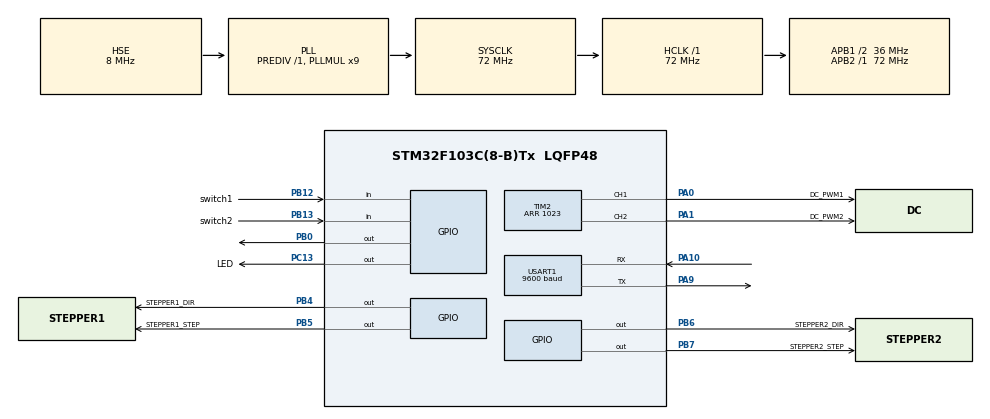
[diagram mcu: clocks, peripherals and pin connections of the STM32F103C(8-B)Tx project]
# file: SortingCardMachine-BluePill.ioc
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FREERTOS.Tasks01=defaultTask,0,128,StartDefaultTask,Default,NULL,Dynamic,NULL,NULL
Mcu.Family=STM32F1
Mcu.Name=STM32F103C(8-B)Tx
Mcu.Package=LQFP48
NVIC.PriorityGroup=NVIC_PRIORITYGROUP_4
NVIC.TIM4_IRQn=true\:15\:0\:false\:false\:true\:false\:false\:true\:true
NVIC.TimeBase=TIM4_IRQn
NVIC.TimeBaseIP=TIM4
NVIC.USART1_IRQn=true\:5\:0\:false\:false\:true\:true\:true\:true\:true
PA0-WKUP.GPIO_Label=DC_PWM1
PA0-WKUP.Signal=S_TIM2_CH1_ETR
PA1.GPIO_Label=DC_PWM2
PA1.Signal=S_TIM2_CH2
PA10.Mode=Asynchronous
PA10.Signal=USART1_RX
PA9.Mode=Asynchronous
PA9.Signal=USART1_TX
PB0.Signal=GPIO_Output
PB12.GPIO_Label=switch1
PB12.Signal=GPIO_Input
PB13.GPIO_Label=switch2
PB13.Signal=GPIO_Input
PB4.GPIO_Label=STEPPER1_DIR
PB4.Signal=GPIO_Output
PB5.GPIO_Label=STEPPER1_STEP
PB5.Signal=GPIO_Output
PB6.GPIO_Label=STEPPER2_DIR
PB6.Signal=GPIO_Output
PB7.GPIO_Label=STEPPER2_STEP
PB7.Signal=GPIO_Output
PC13-TAMPER-RTC.GPIO_Label=LED
PC13-TAMPER-RTC.Signal=GPIO_Output
PD0-OSC_IN.Mode=HSE-External-Oscillator
PD0-OSC_IN.Signal=RCC_OSC_IN
PD1-OSC_OUT.Mode=HSE-External-Oscillator
PD1-OSC_OUT.Signal=RCC_OSC_OUT
ProjectManager.HeapSize=0x200
ProjectManager.StackSize=0x400
ProjectManager.TargetToolchain=STM32CubeIDE
RCC.AHBFreq_Value=72000000
RCC.APB1CLKDivider=RCC_HCLK_DIV2
RCC.APB1Freq_Value=36000000
RCC.APB1TimFreq_Value=72000000
RCC.APB2Freq_Value=72000000
RCC.APB2TimFreq_Value=72000000
RCC.HCLKFreq_Value=72000000
RCC.PLLMUL=RCC_PLL_MUL9
RCC.PLLSourceVirtual=RCC_PLLSOURCE_HSE
RCC.SYSCLKFreq_VALUE=72000000
RCC.SYSCLKSource=RCC_SYSCLKSOURCE_PLLCLK
RCC.USBFreq_Value=72000000
SH.S_TIM2_CH1_ETR.0=TIM2_CH1,PWM Generation1 CH1
SH.S_TIM2_CH2.0=TIM2_CH2,PWM Generation2 CH2
TIM2.Channel-PWM\ Generation1\ CH1=TIM_CHANNEL_1
TIM2.Channel-PWM\ Generation2\ CH2=TIM_CHANNEL_2
TIM2.Period=1023
TIM2.Pulse-PWM\ Generation1\ CH1=512
USART1.BaudRate=9600
USART1.VirtualMode=VM_ASYNC
VP_FREERTOS_VS_CMSIS_V1.Mode=CMSIS_V1
VP_SYS_VS_ND.Mode=No_Debug
VP_SYS_VS_tim4.Mode=TIM4
VP_TIM2_VS_ClockSourceINT.Mode=Internal
board=custom

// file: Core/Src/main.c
/* USER CODE BEGIN Header */
/**
  ******************************************************************************
  * @file           : main.c
  * @brief          : Main program body
  ******************************************************************************
  * @attention
  *
  * Copyright (c) 2024 STMicroelectronics.
  * All rights reserved.
  *
  * This software is licensed under terms that can be found in the LICENSE file
  * in the root directory of this software component.
  * If no LICENSE file comes with this software, it is provided AS-IS.
  *
  ******************************************************************************
  */

/* USER CODE END Header */
#include "main.h"
#include "FreeRTOS.h"
#include "task.h"
#include "timers.h"
#include "queue.h"
#include "semphr.h"
#include "event_groups.h"

/* USER CODE BEGIN PTD */
typedef struct __mOrder
{
  uint8_t tray; // the number of tray to go/ options: 0, 1, 2, 3;
  uint8_t flag_moreCards; // 1 true - more cards to sort. go back; 0 false no more cards. continoue;
  uint8_t flag_notEnd; // 1 true - go back for more rounds; 0 false ended. continue;
  uint8_t flag_start; // 1 true - start; 0 false don't start;
  uint8_t Error;
}mOrder;

/* USER CODE END PTD */

/* USER CODE BEGIN PD */
#define RX_BUFFER_SIZE 2

/***** STEPPER defines #######################################################*/
#define STEPS_PER_REVOLUTION 200 // Need to define
#define STEP_DELAY_MS 10 // Need to define
#define MOTOR_TASK_PRIORITY osPriorityNormal
#define MOTOR_TASK_STACK_SIZE 128
#define FORWARS 1
#define BACKWARDS 0
#define MAX_STEPS 1000 // Need to define
/***** Tray Positions defines ################################################*/
#define FIRST_LEVEL_POS 1 // Lowest level of Sorting Tray  //UPDATE!!
#define SECOND_LEVEL_POS 2 // Lowest level of Sorting Tray  //UPDATE!!
#define THIRD_LEVEL_POS 3 // Lowest level of Sorting Tray  //UPDATE!!
#define FOURTH_LEVEL_POS 4 // Lowest level of Sorting Tray  //UPDATE!!

/* USER CODE END PD */

TIM_HandleTypeDef htim2;

UART_HandleTypeDef huart1;
UART_HandleTypeDef huart2;

/* USER CODE BEGIN PV */
TaskHandle_t xHandleMainTask;
QueueHandle_t xQueueUART;
uint8_t rxBuffer[RX_BUFFER_SIZE];
uint8_t pvBuffer[RX_BUFFER_SIZE];
int16_t trayPosition = 0;
mOrder theMessege;
BaseType_t xReturned;
uint8_t taskSuspendFlag = 1; // 1 true - task running; 0 false task suspended;

/* USER CODE END PV */

void SystemClock_Config(void);
static void MX_GPIO_Init(void);
static void MX_TIM2_Init(void);
static void MX_USART1_UART_Init(void);
void StartDefaultTask(void *argument);

/* USER CODE BEGIN PFP */
// !Need to write messegeInterpret function
mOrder getMessegeInterpret(uint8_t* buffer); // The function can return Struct of the information when we decife the struct
BaseType_t getMessege();
void callibration(); // The Callibration of the Sorting Tray, Change the position to Zero at the end
void retrivigCards(); // The functuin  retriving the cards from the Sorting Tray back to the Feeding Tray
void StepperMove (int stepsToDir);
int calculateStepsToLevel(int level_to_go); // calculate the steps to the next level
void pullingHandlePush(); // Pushing the cards back to the Feeding Tray
void cardPushSpin(); // Pushing one card from the main deck

/* USER CODE END PFP */

int main(void)
{

  /* USER CODE BEGIN 1 */
  xQueueUART = xQueueCreate( 2, sizeof(uint8_t) ); // For 16 bits messege multiple the sizeof() by 2
/*
	The Queue needs to be on uint16_t for 16 bits messege
	*/
  if(xQueueUART == NULL){
    //xQueueUART was not created
    //Can handle the error or send a messege to rpi(RaspberryPi)
  }

  /* USER CODE END 1 */

  /* MCU Configuration--------------------------------------------------------*/

  /* Reset of all peripherals, Initializes the Flash interface and the Systick. */
  HAL_Init();

  /* Configure the system clock */
  SystemClock_Config();

  /* Initialize all configured peripherals */
  MX_GPIO_Init();
  MX_TIM2_Init();
  MX_USART1_UART_Init();
  /* USER CODE BEGIN 2 */
  TIM2->CCR1 = 512;
  TIM2->CCR2 = 256;
  HAL_TIM_PWM_Start(&htim2, TIM_CHANNEL_1);
  HAL_TIM_PWM_Start(&htim2, TIM_CHANNEL_2);
  HAL_TIM_PWM_Stop(&htim2, TIM_CHANNEL_1);
  HAL_TIM_PWM_Stop(&htim2, TIM_CHANNEL_2);

  /****************************** FreeRTOS *******************************/
  xReturned = xTaskCreate( StartDefaultTask,       /* Function that implements the task. */
                      "main Task",          /* Text name for the task. */
                      256,      /* Stack size in words, not bytes. */
                      ( void * ) 1,    /* Parameter passed into the task. */
                      1,/* Priority at which the task is created. */
					  &xHandleMainTask ); // * &xHandle );   if I need to add handle to use later

    if( xReturned == pdFAIL) {
      //Print something or say someting
      HAL_NVIC_SystemReset();
    }

    vTaskStartScheduler();
  /* USER CODE END 2 */

  /* USER CODE BEGIN RTOS_TIMERS */
  /* start timers, add new ones, ... */
  // Start all of the timers - TIM2 with two channels
  //Need to add al PWM functions

  /* USER CODE END RTOS_TIMERS */

  /* Create the thread(s) */
  /* definition and creation of defaultTask */

  /* Start scheduler */

  /* We should never get here as control is now taken by the scheduler */

  /* Infinite loop */
  while (1)
  {

  }
}

void SystemClock_Config(void)
{
  RCC_OscInitTypeDef RCC_OscInitStruct = {0};
  RCC_ClkInitTypeDef RCC_ClkInitStruct = {0};

  /** Initializes the RCC Oscillators according to the specified parameters
  * in the RCC_OscInitTypeDef structure.
  */
  RCC_OscInitStruct.OscillatorType = RCC_OSCILLATORTYPE_HSE;
  RCC_OscInitStruct.HSEState = RCC_HSE_ON;
  RCC_OscInitStruct.HSEPredivValue = RCC_HSE_PREDIV_DIV1;
  RCC_OscInitStruct.HSIState = RCC_HSI_ON;
  RCC_OscInitStruct.PLL.PLLState = RCC_PLL_ON;
  RCC_OscInitStruct.PLL.PLLSource = RCC_PLLSOURCE_HSE;
  RCC_OscInitStruct.PLL.PLLMUL = RCC_PLL_MUL9;
  if (HAL_RCC_OscConfig(&RCC_OscInitStruct) != HAL_OK)
  {
    Error_Handler();
  }

  /** Initializes the CPU, AHB and APB buses clocks
  */
  RCC_ClkInitStruct.ClockType = RCC_CLOCKTYPE_HCLK|RCC_CLOCKTYPE_SYSCLK
                              |RCC_CLOCKTYPE_PCLK1|RCC_CLOCKTYPE_PCLK2;
  RCC_ClkInitStruct.SYSCLKSource = RCC_SYSCLKSOURCE_PLLCLK;
  RCC_ClkInitStruct.AHBCLKDivider = RCC_SYSCLK_DIV1;
  RCC_ClkInitStruct.APB1CLKDivider = RCC_HCLK_DIV2;
  RCC_ClkInitStruct.APB2CLKDivider = RCC_HCLK_DIV1;

  if (HAL_RCC_ClockConfig(&RCC_ClkInitStruct, FLASH_LATENCY_2) != HAL_OK)
  {
    Error_Handler();
  }
}

static void MX_TIM2_Init(void)
{

  TIM_ClockConfigTypeDef sClockSourceConfig = {0};
  TIM_MasterConfigTypeDef sMasterConfig = {0};
  TIM_OC_InitTypeDef sConfigOC = {0};

  htim2.Instance = TIM2;
  htim2.Init.Prescaler = 0;
  htim2.Init.CounterMode = TIM_COUNTERMODE_UP;
  htim2.Init.Period = 1023;
  htim2.Init.ClockDivision = TIM_CLOCKDIVISION_DIV1;
  htim2.Init.AutoReloadPreload = TIM_AUTORELOAD_PRELOAD_DISABLE;
  if (HAL_TIM_Base_Init(&htim2) != HAL_OK)
  {
    Error_Handler();
  }
  sClockSourceConfig.ClockSource = TIM_CLOCKSOURCE_INTERNAL;
  if (HAL_TIM_ConfigClockSource(&htim2, &sClockSourceConfig) != HAL_OK)
  {
    Error_Handler();
  }
  if (HAL_TIM_PWM_Init(&htim2) != HAL_OK)
  {
    Error_Handler();
  }
  sMasterConfig.MasterOutputTrigger = TIM_TRGO_RESET;
  sMasterConfig.MasterSlaveMode = TIM_MASTERSLAVEMODE_DISABLE;
  if (HAL_TIMEx_MasterConfigSynchronization(&htim2, &sMasterConfig) != HAL_OK)
  {
    Error_Handler();
  }
  sConfigOC.OCMode = TIM_OCMODE_PWM1;
  sConfigOC.Pulse = 512;
  sConfigOC.OCPolarity = TIM_OCPOLARITY_HIGH;
  sConfigOC.OCFastMode = TIM_OCFAST_DISABLE;
  if (HAL_TIM_PWM_ConfigChannel(&htim2, &sConfigOC, TIM_CHANNEL_1) != HAL_OK)
  {
    Error_Handler();
  }
  sConfigOC.Pulse = 0;
  if (HAL_TIM_PWM_ConfigChannel(&htim2, &sConfigOC, TIM_CHANNEL_2) != HAL_OK)
  {
    Error_Handler();
  }
  HAL_TIM_MspPostInit(&htim2);

}

static void MX_USART1_UART_Init(void)
{

  huart1.Instance = USART1;
  huart1.Init.BaudRate = 9600;
  huart1.Init.WordLength = UART_WORDLENGTH_8B;
  huart1.Init.StopBits = UART_STOPBITS_1;
  huart1.Init.Parity = UART_PARITY_NONE;
  huart1.Init.Mode = UART_MODE_TX_RX;
  huart1.Init.HwFlowCtl = UART_HWCONTROL_NONE;
  huart1.Init.OverSampling = UART_OVERSAMPLING_16;
  if (HAL_UART_Init(&huart1) != HAL_OK)
  {
    Error_Handler();
  }
  /* USER CODE BEGIN USART1_Init 2 */
  HAL_UART_Receive_IT(&huart1, rxBuffer, RX_BUFFER_SIZE);
  /* USER CODE END USART1_Init 2 */

}

static void MX_USART2_UART_Init(void)
{

  huart2.Instance = USART2;
  huart2.Init.BaudRate = 115200;
  huart2.Init.WordLength = UART_WORDLENGTH_8B;
  huart2.Init.StopBits = UART_STOPBITS_1;
  huart2.Init.Parity = UART_PARITY_NONE;
  huart2.Init.Mode = UART_MODE_TX_RX;
  huart2.Init.HwFlowCtl = UART_HWCONTROL_NONE;
  huart2.Init.OverSampling = UART_OVERSAMPLING_16;
  if (HAL_UART_Init(&huart2) != HAL_OK)
  {
    Error_Handler();
  }

}

static void MX_GPIO_Init(void)
{
  GPIO_InitTypeDef GPIO_InitStruct = {0};

  /* GPIO Ports Clock Enable */
  __HAL_RCC_GPIOC_CLK_ENABLE();
  __HAL_RCC_GPIOD_CLK_ENABLE();
  __HAL_RCC_GPIOA_CLK_ENABLE();
  __HAL_RCC_GPIOB_CLK_ENABLE();

  /*Configure GPIO pin Output Level */
  HAL_GPIO_WritePin(LED_GPIO_Port, LED_Pin, GPIO_PIN_RESET);

  /*Configure GPIO pin Output Level */
  HAL_GPIO_WritePin(GPIOB, GPIO_PIN_0|STEPPER1_DIR_Pin|STEPPER1_STEP_Pin|STEPPER2_DIR_Pin
                          |STEPPER2_STEP_Pin, GPIO_PIN_RESET);

  /*Configure GPIO pin : LED_Pin */
  GPIO_InitStruct.Pin = LED_Pin;
  GPIO_InitStruct.Mode = GPIO_MODE_OUTPUT_PP;
  GPIO_InitStruct.Pull = GPIO_NOPULL;
  GPIO_InitStruct.Speed = GPIO_SPEED_FREQ_LOW;
  HAL_GPIO_Init(LED_GPIO_Port, &GPIO_InitStruct);

  /*Configure GPIO pins : PB0 STEPPER1_DIR_Pin STEPPER1_STEP_Pin STEPPER2_DIR_Pin
                           STEPPER2_STEP_Pin */
  GPIO_InitStruct.Pin = GPIO_PIN_0|STEPPER1_DIR_Pin|STEPPER1_STEP_Pin|STEPPER2_DIR_Pin
                          |STEPPER2_STEP_Pin;
  GPIO_InitStruct.Mode = GPIO_MODE_OUTPUT_PP;
  GPIO_InitStruct.Pull = GPIO_NOPULL;
  GPIO_InitStruct.Speed = GPIO_SPEED_FREQ_LOW;
  HAL_GPIO_Init(GPIOB, &GPIO_InitStruct);

  /*Configure GPIO pins : switch1_Pin switch2_Pin */
  GPIO_InitStruct.Pin = switch1_Pin|switch2_Pin;
  GPIO_InitStruct.Mode = GPIO_MODE_INPUT;
  GPIO_InitStruct.Pull = GPIO_NOPULL;
  HAL_GPIO_Init(GPIOB, &GPIO_InitStruct);

}

/* USER CODE BEGIN 4 */
/***** UART Interrupt Function ################################################*/
/*
  This function starting when messege is starting to arrive
  Then the function pushing the messege to xQueueUART
*/
/**
  * @brief  This function starting when messege is starting to arrive. Then the function pushing the messege to xQueueUART
  * @param  huart: UART handle
  * @retval None
  */
void HAL_UART_RxCpltCallback(UART_HandleTypeDef *huart){
  if (huart->Instance == USART1){
   if(xQueueSendFromISR(xQueueUART, rxBuffer, NULL) == errQUEUE_FULL){
    //Queue is full - need to send a messege about it.
   }
    //HAL_UART_Receive(huart, &rxBuffer, RX_BUFFER_SIZE, HAL_MAX_DELAY);  // The function HAL_UART_Receive_IT already fill rxBuffer
    /*
    Here we need to deside what we are looking for at the messeges
    For example we have first 7 bits that reffer to the suit and number (4 bits of number - 13 options, 2 bits of suit - 4 options)
    We need to add the cell to go (2 bits),
    and acknowledge

    The place for the interpertation can be when the program pull it from the Queue
    */

  }
  if( !taskSuspendFlag ){
	  vTaskResume(xHandleMainTask);
	  taskSuspendFlag = !taskSuspendFlag;
  }
  HAL_UART_Receive_IT(huart, rxBuffer, RX_BUFFER_SIZE);
}

/***** Callibration Function #################################################*/
/**
  *@brief function moves the Sorting tray until the switch is close
  *@note the function changes the trayPosition global variable
  *@retval int status: 1 OK, 0 Error
*/
void callibration(){

  int switchFlag = HAL_GPIO_ReadPin(switch1_GPIO_Port, switch1_Pin);
  HAL_GPIO_WritePin(STEPPER1_DIR_GPIO_Port, STEPPER1_DIR_Pin, BACKWARDS); // UP to the top position

  for (uint16_t i = 0; i < MAX_STEPS && switchFlag; i++)
  {
    HAL_GPIO_WritePin(STEPPER1_STEP_GPIO_Port, STEPPER1_STEP_Pin, GPIO_PIN_SET);
    vTaskDelay(pdMS_TO_TICKS(STEP_DELAY_MS)); // Delay to allow stepper driver to register step
    HAL_GPIO_WritePin(STEPPER1_STEP_GPIO_Port, STEPPER1_STEP_Pin, GPIO_PIN_RESET);
    vTaskDelay(pdMS_TO_TICKS(STEP_DELAY_MS)); // Delay between steps
    switchFlag = HAL_GPIO_ReadPin(switch1_GPIO_Port, switch1_Pin);
  }

  trayPosition = 0;
}
/***** Retriving Function #################################################*/
/**
  *@brief The functuin  retriving the cards from the Sorting Tray back to the Feeding Tray
  *@note The function calls callibration function
  *@retval None
*/
void retrivigCards(){
  callibration();

  for (uint8_t i = 1; i <= 4; i++)
  {
	StepperMove(calculateStepsToLevel(i));
    pullingHandlePush();
  }

}
/***** calculation of steps to level Function ##############################*/
/**
  *@brief calculate the steps to the next level
  *@param level_to_go: The level to go to
  *@note the current level is the global trayPosition
  *@retval steps to go. positive is down, negative is up // Can be changed.
*/
int calculateStepsToLevel(int level_to_go){
  switch (level_to_go)
  {
  case 1:
    return FIRST_LEVEL_POS - trayPosition;
    break;
  case 2:
    return SECOND_LEVEL_POS - trayPosition;
    break;
  case 3:
    return THIRD_LEVEL_POS - trayPosition;
    break;
  case 4:
    return FOURTH_LEVEL_POS - trayPosition;
    break;

  default:
    return 0;
    break;
  }
}

/***** Stepper Move Function ##############################################*/
/**
  *@brief moving the Sorting Tray to position
  *@param stepsToDir: the number of steps to the next position.
  *@retval  None
*/
void StepperMove (int stepsToDir){
  uint32_t steps;
  uint8_t direction;
  if(stepsToDir > 0){
    direction = GPIO_PIN_SET;
    steps = stepsToDir;
  } else {
    direction = GPIO_PIN_RESET;
    steps = stepsToDir * -1;
  }

  HAL_GPIO_WritePin(STEPPER1_DIR_GPIO_Port, STEPPER1_DIR_Pin, direction); // (direction ? GPIO_PIN_SET : GPIO_PIN_RESET)

  for (uint32_t i = 0; i < steps; i++)
  {
    HAL_GPIO_WritePin(STEPPER1_STEP_GPIO_Port, STEPPER1_STEP_Pin, GPIO_PIN_SET);
    vTaskDelay(pdMS_TO_TICKS(STEP_DELAY_MS)); // Delay to allow stepper driver to register step
    HAL_GPIO_WritePin(STEPPER1_STEP_GPIO_Port, STEPPER1_STEP_Pin, GPIO_PIN_RESET);
    vTaskDelay(pdMS_TO_TICKS(STEP_DELAY_MS)); // Delay between steps

    trayPosition += direction ? 1 : (-1) ;
  }
}
/***** Pulling Handle Push Function ########################################*/
/**
  *@brief Pushing the cards back to the Feeding Tray
  *@retval  None
*/
void pullingHandlePush(){
  int steps = 100; //! edit to the right steps number
  for (uint8_t dir = 1; dir >= 0 ; dir--)
  {
    HAL_GPIO_WritePin(STEPPER1_DIR_GPIO_Port, STEPPER1_DIR_Pin, dir);
    for (uint32_t i = 0; i < steps; i++)
    {
      HAL_GPIO_WritePin(STEPPER1_STEP_GPIO_Port, STEPPER1_STEP_Pin, GPIO_PIN_SET);
      vTaskDelay(pdMS_TO_TICKS(STEP_DELAY_MS)); // Delay to allow stepper driver to register step
      HAL_GPIO_WritePin(STEPPER1_STEP_GPIO_Port, STEPPER1_STEP_Pin, GPIO_PIN_RESET);
      vTaskDelay(pdMS_TO_TICKS(STEP_DELAY_MS)); // Delay between steps
    }
  }

}

/**
  *@brief Pushing one card from the main deck
  *@retval  None
*/
void cardPushSpin(){
  int switchFlag = 0; // switch is open
	TIM2->CCR1 = 100;

  HAL_TIM_PWM_Start(&htim2, TIM_CHANNEL_1);

  for (uint8_t i = 0; i <= 255 && !switchFlag; i++)
  {
    vTaskDelay(pdMS_TO_TICKS(10));
    switchFlag = HAL_GPIO_ReadPin(switch1_GPIO_Port, switch1_Pin);
  }

  HAL_TIM_PWM_Stop(&htim2, TIM_CHANNEL_1);
}

mOrder getMessegeInterpret(uint8_t* buffer){
  //xQueue receive
	// the bits order are: 0b87654321
  theMessege.tray = buffer[0] & 0x03;  // 1st and 2nd bits
  theMessege.flag_moreCards = (buffer[0] >> 2) & 0x01; // 3rd bit
  theMessege.flag_notEnd = (buffer[0] >> 3) & 0x01; // 4th bit
  theMessege.flag_start = (buffer[0] >> 4) & 0x01; // 5th bit
  theMessege.Error = (buffer[0] >> 5) & 0x07; // 6th to 8th bits

  return theMessege;
}

BaseType_t getMessege(int numOfLoops){
  //xQueue receive
  BaseType_t res = pdFALSE;
  for (uint8_t i = 0; i < numOfLoops && !res; i++)
  {
    res = xQueueReceive(xQueueUART, pvBuffer, pdMS_TO_TICKS(100));

    if (res == pdPASS){
      theMessege.tray = pvBuffer[0] & 0x03;
      theMessege.flag_moreCards = (pvBuffer[0] >> 2) & 0x01;
      theMessege.flag_notEnd = (pvBuffer[0] >> 3) & 0x01;
      theMessege.flag_start = (pvBuffer[0] >> 4) & 0x01;
      theMessege.Error = (pvBuffer[0] >> 5) & 0x07;
    }
  }
  return res;

}

/* USER CODE END 4 */

/* USER CODE BEGIN Header_StartDefaultTask */
/**
  * @brief  This is the main(). all the code is here.
  * @note	The main() function is only for running the RTOS and the GPIO,TIM
  * @param  argument: Not used
  * @retval None
  */
/* USER CODE END Header_StartDefaultTask */
void StartDefaultTask(void *pvParameters)
{
  /* USER CODE BEGIN 5 */

  /*
  Few Things about this function.
  Most of it need to be inside the infinte loop
  At the end of the loop (each time) the function will be suspended and a flag(add one) will indicate it
  }
  The UART interrupt will wake the function again, so everything needs to be inside.

  */

  HAL_GPIO_WritePin(LED_GPIO_Port, LED_Pin, GPIO_PIN_RESET);
  callibration();

  // for(uint_8 i = 0; i < 15 && xQueueReceive(xQueueUART, pvBuffer, pdMS_TO_TICKS(100)) == pdFalse; i++){
  //   vTaskDelay(pdMS_TO_TICKS(100));
  // } // Order to start the process
  // getMessegeInterpret(pvBuffer);
  if (getMessege(25) == pdFAIL){
    //! send error to the Pi, wait for x seconds and rerty/reboot.
  }

  /* Infinite loop */
  for(;;)
  {
    mainLoop1:

    HAL_TIM_PWM_Start(&htim2, TIM_CHANNEL_2);//Starting the PWM of the roller motor

    // xQueueReceive(xQueueUART, pvBuffer, pdMS_TO_TICKS(100)); //???pull from xQueue -> if empty Delay(1000);
    if (getMessege(15) == pdFAIL){// Maybe change to while and delay
      //! send error to the Pi, wait for x seconds and rerty/reboot.
    	HAL_UART_Transmit(&huart1, (uint8_t)* "Error #1", sizeof("Error #1"), 100);
    }
    /*interpent the messege -> Build the function
    The function needs to interpent the messege and to put the values on a new Struct(global)
    */
    mainLoop2:

    StepperMove(calculateStepsToLevel(theMessege.tray));//move Sorting Tray to position
	HAL_UART_Transmit(&huart1, (uint8_t)* "Error #2", sizeof("Error #2"), 100); // message about the tray position
    cardPushSpin();//starting one loop of the PWM of the pushing DC motor

    vTaskDelay(pdMS_TO_TICKS(1000));// To make sure the card at the place

    //check for new message from pi. Or another card(move back toSorting tray move)
    // or end of pile(continue)
    //start
    if (getMessege(15) == pdFAIL){
      //! send error to the Pi, wait for x seconds and rerty/reboot.
    	HAL_UART_Transmit(&huart1, (uint8_t)* "Error #3", sizeof("Error ##"), 100); // message about the tray position
    }
    /*
    TODO: If statment about what to do:
    Or another card(move back toSorting tray move)
    or end of pile(continue)
    */
    if(theMessege.flag_moreCards){
    	goto mainLoop2;
    	HAL_UART_Transmit(&huart1, (uint8_t)* "Error #4", sizeof("Error ##"), 100); // message about the tray position
    }
    //end

    HAL_TIM_PWM_Stop(&htim2, TIM_CHANNEL_2);// Stop PWM of the DC motor of the roller
    HAL_UART_Transmit(&huart1, (uint8_t)* "Error #4", sizeof("Error ##"), 100); // message about the tray position

    pullingHandlePush();//pulling back cards to the Feeding tray
    HAL_UART_Transmit(&huart1, (uint8_t)* "Error #5", sizeof("Error ##"), 100); // message about the tray position
    //check messege from pi -> done or another round
    if (getMessege(15) == pdFAIL){
      //! send error to the Pi, wait for x seconds and rerty/reboot.
    	HAL_UART_Transmit(&huart1, (uint8_t)* "Error #6", sizeof("Error ##"), 100); // message about the tray position
    }
    /*
    TODO: If statment about what to do:
    another card will be "goto mainloop;"
    done will just continue
    */
    if(theMessege.flag_notEnd){
    	goto mainLoop1;
    	HAL_UART_Transmit(&huart1, (uint8_t)* "Error #7", sizeof("Error ##"), 100); // message about the tray position
    }

    HAL_GPIO_WritePin(LED_GPIO_Port, LED_Pin, GPIO_PIN_SET);//Turn on end indicator light
    HAL_UART_Transmit(&huart1, (uint8_t)* "Error #8", sizeof("Error ##"), 100); // message about the tray position

    taskSuspendFlag = 0;
    vTaskSuspend(xHandleMainTask);
  }
  /* USER CODE END 5 */
}

void HAL_TIM_PeriodElapsedCallback(TIM_HandleTypeDef *htim)
{
  if (htim->Instance == TIM4) {
    HAL_IncTick();
  }
}

void Error_Handler(void)
{
  __disable_irq();
  while (1)
  {
  }
}
